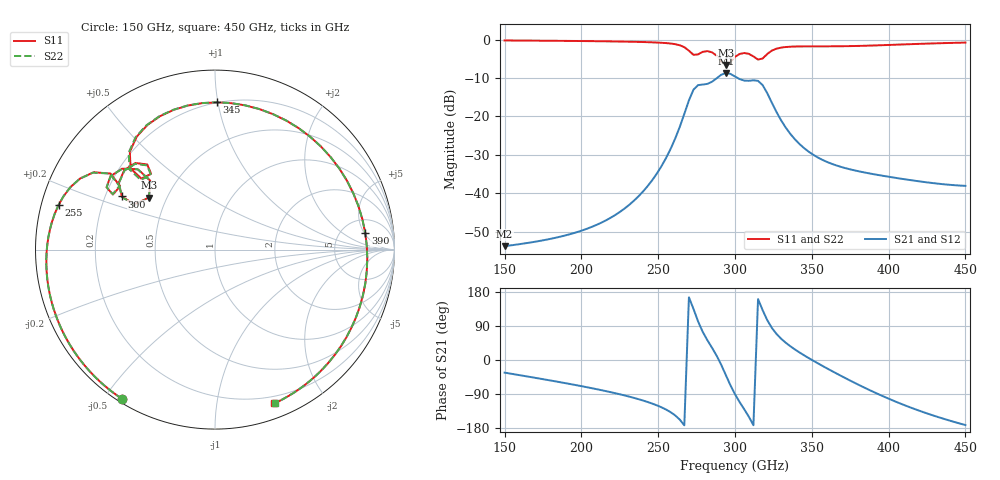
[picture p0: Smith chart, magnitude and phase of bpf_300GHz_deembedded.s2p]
! Created with skrf 2.2.0 (http://scikit-rf.org).
# GHz S DB R 50.0
! Port[1] = P1
! Port[2] = P2
!freq dBS11 angS11 dBS21 angS21 dBS12 angS12 dBS22 angS22
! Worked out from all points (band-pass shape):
!   101 points, 150 GHz to 450 GHz, reference 50 ohm
!   highest |S21| = -8.65 dB at 294 GHz (marker M1); lowest = -53.8 dB at 150 GHz (marker M2)
!   |S21| within 3 dB of the highest: 279.4 GHz to 317.5 GHz (38.1 GHz wide, 12.8 % of centre)
!   lowest |S11| = -6.6 dB at 294 GHz (marker M3), VSWR 2.76, Z = 19.9 + j14.8 ohm
!   |S11| at or under -10 dB: nowhere
!   |S22| runs from -6.6 to -0.2 dB; largest |S21 - S12| = 3.4e-13
!   S11 on the Smith chart (normalised r, x): 150 GHz: 0.01, -0.55; 255 GHz: 0.05, +0.14; 300 GHz: 0.27, +0.25; 345 GHz: 0.20, +0.99; 390 GHz: 8.20, +5.31; 450 GHz: 0.13, -1.45
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150  -0.18 -122.0  -53.82 -33.3  -53.82 -33.3  -0.18 -121.9
201  -0.34 -154.0  -49.65 -69.8  -49.65 -69.8  -0.33 -153.8
231  -0.50 -174.6  -43.08 -96.5  -43.08 -96.5  -0.50 -174.4
252  -0.78 167.2  -33.05 -124.6  -33.05 -124.6  -0.77 167.4
255  -0.86 163.9  -30.92 -130.5  -30.92 -130.5  -0.85 164.2
267  -1.93 147.5  -19.34 -172.3  -19.34 -172.3  -1.89 147.8
273  -3.94 146.3  -12.99 134.5  -12.99 134.5  -3.88 146.3
279  -3.14 150.1  -11.67 74.1  -11.67 74.1  -3.14 150.1
288  -4.13 133.8  -10.06 11.6  -10.06 11.6  -4.15 133.9
294  -6.58 141.8  -8.65 -39.5  -8.65 -39.5  -6.61 142.0
300  -4.47 150.3  -9.58 -90.4  -9.58 -90.4  -4.50 150.6
306  -3.46 138.8  -10.64 -130.0  -10.64 -130.0  -3.49 139.0
312  -4.35 128.5  -10.56 -172.1  -10.56 -172.1  -4.41 128.9
318  -4.88 136.1  -11.83 131.4  -11.83 131.4  -4.92 136.8
327  -2.32 124.7  -18.83 68.9  -18.83 68.9  -2.31 125.3
345  -1.72 89.2  -28.26 12.3  -28.26 12.3  -1.72 89.7
351  -1.71 77.9  -30.00 -2.0  -30.00 -2.0  -1.71 78.4
372  -1.67 38.5  -33.48 -48.1  -33.48 -48.1  -1.67 38.9
390  -1.49 6.4  -35.03 -83.9  -35.03 -83.9  -1.50 6.7
402  -1.32 -12.8  -35.84 -105.5  -35.84 -105.5  -1.33 -12.6
426  -0.99 -44.8  -37.23 -142.3  -37.23 -142.3  -0.99 -44.6
450  -0.74 -68.9  -38.09 -171.7  -38.09 -171.7  -0.74 -68.8
